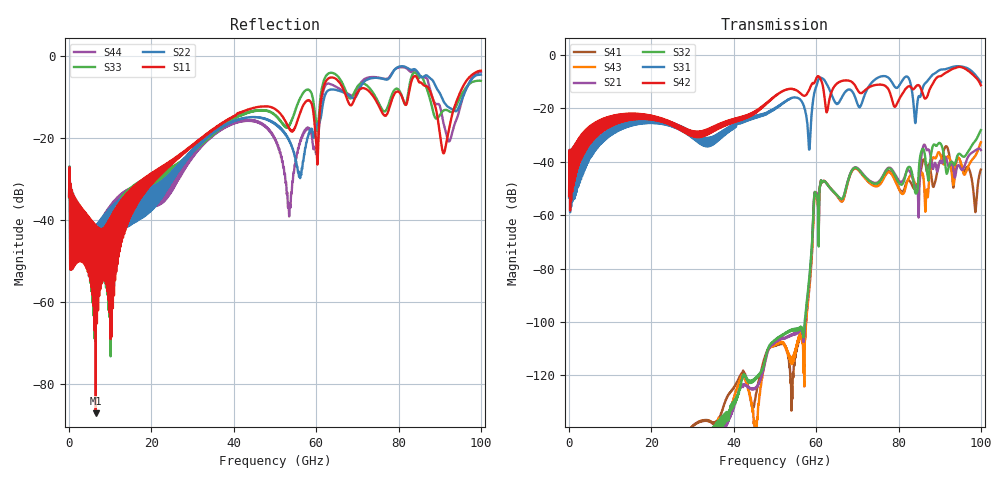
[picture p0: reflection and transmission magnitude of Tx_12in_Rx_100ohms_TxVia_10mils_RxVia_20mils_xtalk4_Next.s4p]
! Info: Touchstone file created by Circ.  Input file=Tx_12in_Rx_100ohms_TxVia_10mils_RxVia_20mils.circ
# Hz S RI R 50
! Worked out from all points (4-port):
!   10000 points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, 10 MHz to 100 GHz, reference 50 ohm
!   strongest paths, dB at 10 MHz, 25.01 GHz, 50.01 GHz, 75.01 GHz, 100 GHz:
!     S42: -52.8, -26.0, -15.3, -11.1, -11.3
!     S31: -53.4, -26.4, -19.9, -8.5, -10.1
!     S32: -, -157.3, -106.7, -47.9, -28.1
!     S21: -, -172.7, -107.7, -47.6, -35.6
!     S43: -155.4, -158.3, -108.6, -49.1, -32.7
!     S41: -154.7, -152.5, -108.8, -48.8, -42.9
!   lowest |S11| = -87.1 dB at 6.48 GHz (marker M1), VSWR 1.00, Z = 50 - j0.00109 ohm
!   |S11| at or under -10 dB: start of sweep to 61.28 GHz; 73.95 GHz to 78.64 GHz (4.69 GHz wide, 6.15 % of centre); 88.17 GHz to 94.51 GHz (6.335 GHz wide, 6.94 % of centre)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
1e7  0.0179 0.00732  6.7e-12 -9.99e-12  0.00038 0.00211  -6.86e-09 1.7e-08
     6.7e-12 -9.99e-12  0.0184 0.00735  4.48e-12 -1.1e-11  0.000799 0.00215
     0.00038 0.00211  4.48e-12 -1.1e-11  0.0172 0.00769  -4.51e-09 1.63e-08
     -6.86e-09 1.7e-08  0.000799 0.00215  -4.51e-09 1.63e-08  0.0183 0.00738
6.48e9  -4.3e-05 -1.09e-05  -2.01e-10 -3.36e-10  0.0143 0.0327  1.6e-10 2.73e-10
        -2.01e-10 -3.36e-10  0.00762 0.00379  -6.48e-10 -6.8e-10  0.0251 0.0341
        0.0143 0.0327  -6.48e-10 -6.8e-10  -7.14e-05 0.000322  3.8e-10 -6.72e-11
        1.6e-10 2.73e-10  0.0251 0.0341  3.8e-10 -6.72e-11  0.0068 0.00404
5.806e10  0.1592 -0.2413  3.02e-05 2.23e-05  0.0222 0.025  1.75e-05 2.06e-05
          3.02e-05 2.23e-05  -0.0674 0.0838  3.61e-05 2.4e-05  0.1206 0.1654
          0.0222 0.025  3.61e-05 2.4e-05  0.2514 -0.2982  2.05e-05 2.17e-05
          1.75e-05 2.06e-05  0.1206 0.1654  2.05e-05 2.17e-05  -0.1334 -0.0071
6.155e10  0.326 -0.1781  -0.00411 -0.000998  0.3159 0.1761  -0.00412 -0.000875
          -0.00411 -0.000998  -0.1644 -0.1837  -0.00414 -0.000841  0.0819 -0.2656
          0.3159 0.1761  -0.00414 -0.000841  0.3569 -0.2556  -0.00415 -0.00071
          -0.00412 -0.000875  0.0819 -0.2656  -0.00415 -0.00071  -0.2628 -0.2012
8.043e10  0.1754 0.3009  0.00048 0.00421  -0.0403 -0.2863  0.000676 0.00286
          0.00048 0.00421  -0.0908 -0.7409  0.000891 0.00368  -0.1572 0.0396
          -0.0403 -0.2863  0.000891 0.00368  0.1725 0.3181  0.00093 0.00258
          0.000676 0.00286  -0.1572 0.0396  0.00093 0.00258  -0.0574 -0.7241
9.098e10  0.00654 0.0647  0.00813 0.00814  0.5364 -0.0115  0.0155 -0.0048
          0.00813 0.00814  0.1669 0.2211  -0.00748 0.0117  0.4399 -0.011
          0.5364 -0.0115  -0.00748 0.0117  0.1708 0.1343  0.00224 0.00863
          0.0155 -0.0048  0.4399 -0.011  0.00224 0.00863  0.087 0.1194
1e11  -0.6579 0.0575  -0.00845 0.0143  0.0543 0.3088  0.00697 0.0016
      -0.00845 0.0143  -0.591 0.0388  -0.0218 -0.0326  0.0989 0.2526
      0.0543 0.3088  -0.0218 -0.0326  -0.4937 0.0607  -0.0207 0.0104
      0.00697 0.0016  0.0989 0.2526  -0.0207 0.0104  -0.6321 0.0866
